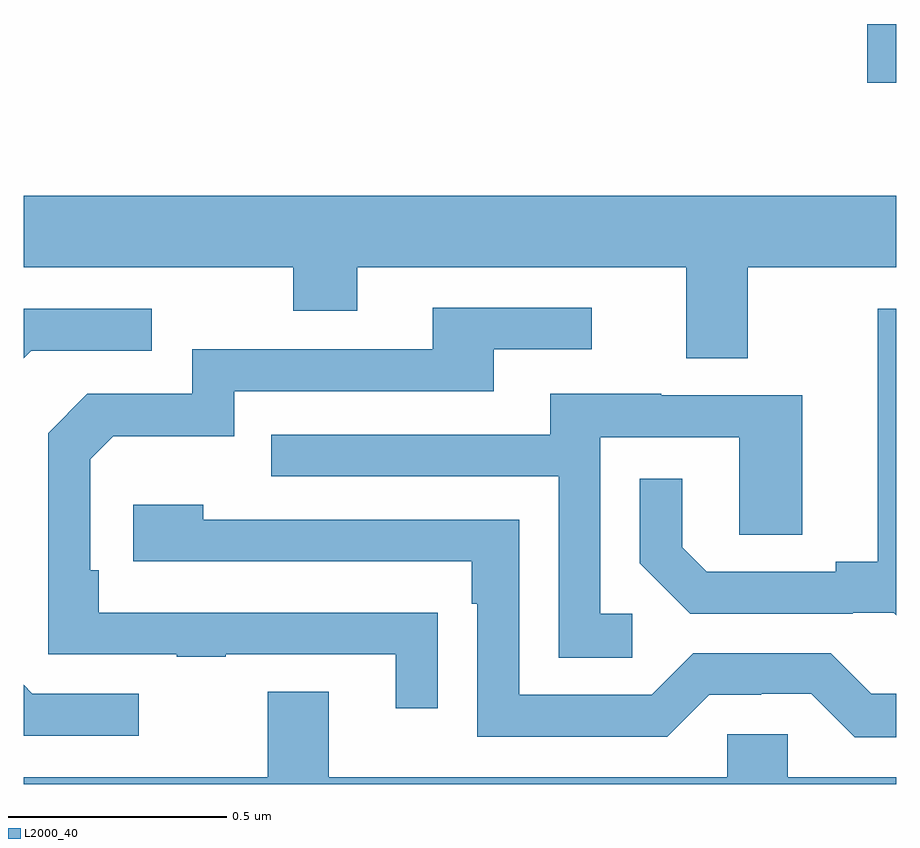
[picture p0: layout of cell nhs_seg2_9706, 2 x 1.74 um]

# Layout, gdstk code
import gdstk
lib = gdstk.Library(unit=1e-6, precision=1e-09)
def R(c, l, rs):  # rectangles x0, y0, x1, y1
    for r in rs: c.add(gdstk.rectangle(r[:2], r[2:], *l))
def P(c, l, *ps):  # polygons
    for p in ps: c.add(gdstk.Polygon(p, *l))
L2000_40 = (2000, 40)

nhs_seg2_9706 = lib.new_cell('nhs_seg2_9706')
R(nhs_seg2_9706, L2000_40, [(233.934,633.407,234,633.542)])
P(nhs_seg2_9706, L2000_40, [(232,632.984),(232.618,632.984),(232.618,632.885),(232.765,632.885),(232.765,632.984),(233.519,632.984),(233.519,632.776),(233.659,632.776),(233.659,632.984),(234,632.984),(234,633.148),(232,633.148)],
  [(232.949,632.192),(232.847,632.192),(232.847,632.193),(232.172,632.193),(232.172,632.29),(232.152,632.29),(232.152,632.544),(232.205,632.597),(232.482,632.597),(232.482,632.7),(233.077,632.7),(233.077,632.796),(233.302,632.796),(233.302,632.892),(232.937,632.892),(232.937,632.796),(232.386,632.796),(232.386,632.694),(232.146,632.694),(232.056,632.604),(232.056,632.097),(232.351,632.097),(232.351,632.092),(232.463,632.092),(232.463,632.097),(232.853,632.097),(232.853,631.974),(232.949,631.974)],
  [(232.017,632.793),(232.294,632.793),(232.294,632.889),(232,632.889),(232,632.776)],
  [(234,632.889),(233.957,632.889),(233.957,632.309),(233.861,632.309),(233.861,632.286),(233.566,632.286),(233.509,632.343),(233.509,632.5),(233.412,632.5),(233.412,632.306),(233.528,632.19),(233.9,632.19),(233.9,632.193),(233.994,632.193),(234,632.187)],
  [(233.395,632.19),(233.322,632.19),(233.322,632.595),(233.64,632.595),(233.64,632.371),(233.785,632.371),(233.785,632.691),(233.461,632.691),(233.461,632.695),(233.207,632.695),(233.207,632.601),(232.567,632.601),(232.567,632.505),(233.226,632.505),(233.226,632.089),(233.395,632.089)],
  [(234,632.007),(233.943,632.007),(233.85,632.1),(233.535,632.1),(233.439,632.004),(233.136,632.004),(233.136,632.406),(232.412,632.406),(232.412,632.44),(232.251,632.44),(232.251,632.31),(233.027,632.31),(233.027,632.213),(233.04,632.213),(233.04,631.908),(233.475,631.908),(233.571,632.004),(233.69,632.004),(233.69,632.007),(233.805,632.007),(233.905,631.907),(234,631.907)],
  [(232.264,632.007),(232.02,632.007),(232,632.027),(232,631.911),(232.264,631.911)],
  [(234,631.816),(233.751,631.816),(233.751,631.914),(233.613,631.914),(233.613,631.816),(232.699,631.816),(232.699,632.011),(232.559,632.011),(232.559,631.816),(232,631.816),(232,631.8),(234,631.8)])

lib.write_gds('nhs_seg2_9706.gds')
